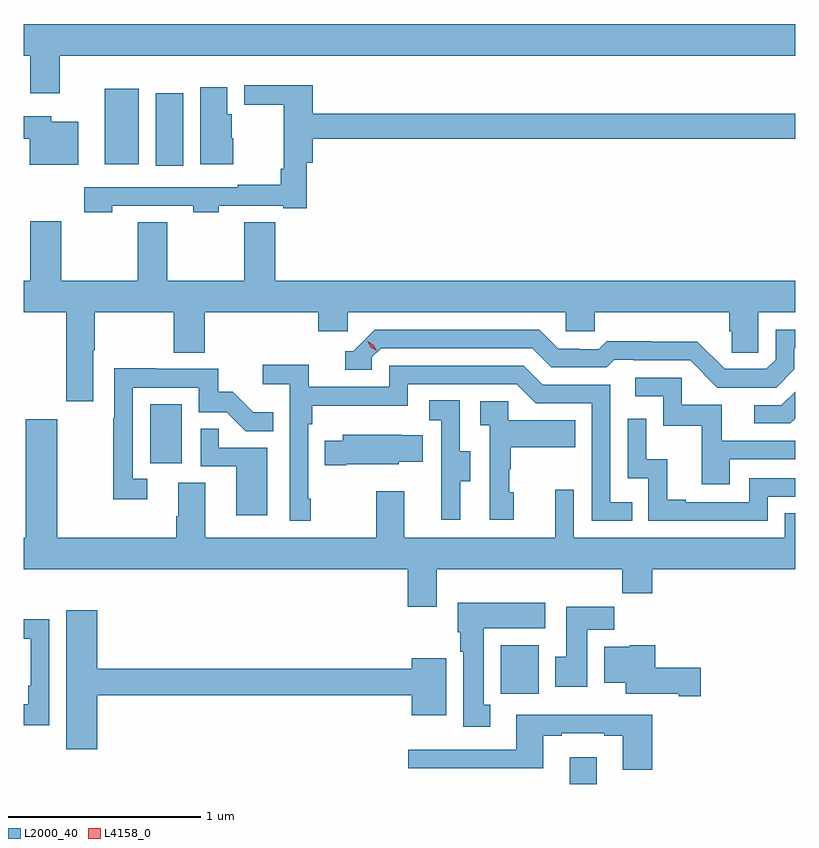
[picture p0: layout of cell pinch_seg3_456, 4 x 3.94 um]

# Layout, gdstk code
import gdstk
lib = gdstk.Library(unit=1e-6, precision=1e-09)
def R(c, l, rs):  # rectangles x0, y0, x1, y1
    for r in rs: c.add(gdstk.rectangle(r[:2], r[2:], *l))
def P(c, l, *ps):  # polygons
    for p in ps: c.add(gdstk.Polygon(p, *l))
L2000_40 = (2000, 40)
L4158_0 = (4158, 0)

pinch_seg3_456 = lib.new_cell('pinch_seg3_456')
R(pinch_seg3_456, L2000_40, [(903.203,679.823,903.343,679.963), (902.847,680.292,903.043,680.542), (901.028,681.486,901.192,681.793), (901.058,683.028,901.201,683.404), (900.794,683.036,900.97,683.428)])
P(pinch_seg3_456, L2000_40, [(900.559,683.6),(904.373,683.6),(904.373,683.764),(900.373,683.764),(900.373,683.6),(900.407,683.6),(900.407,683.406),(900.559,683.406)],
  [(900.831,682.821),(901.251,682.821),(901.251,682.789),(901.383,682.789),(901.383,682.821),(901.718,682.821),(901.718,682.809),(901.841,682.809),(901.841,683.045),(901.871,683.045),(901.871,683.17),(904.373,683.17),(904.373,683.299),(901.871,683.299),(901.871,683.446),(901.515,683.446),(901.515,683.344),(901.72,683.344),(901.72,683.014),(901.705,683.014),(901.705,682.93),(901.483,682.93),(901.483,682.917),(900.687,682.917),(900.687,682.789),(900.831,682.789)],
  [(901.459,683.172),(901.45,683.172),(901.45,683.295),(901.429,683.295),(901.429,683.437),(901.289,683.437),(901.289,683.036),(901.459,683.036)],
  [(900.655,683.257),(900.514,683.257),(900.514,683.286),(900.373,683.286),(900.373,683.17),(900.404,683.17),(900.404,683.033),(900.655,683.033)],
  [(901.118,682.736),(900.964,682.736),(900.964,682.432),(900.567,682.432),(900.567,682.741),(900.407,682.741),(900.407,682.432),(900.373,682.432),(900.373,682.268),(900.593,682.268),(900.593,681.807),(900.733,681.807),(900.733,682.072),(900.741,682.072),(900.741,682.268),(901.15,682.268),(901.15,682.06),(901.31,682.06),(901.31,682.268),(901.901,682.268),(901.901,682.17),(902.052,682.17),(902.052,682.268),(903.183,682.268),(903.183,682.17),(903.333,682.17),(903.333,682.268),(904.031,682.268),(904.031,682.17),(904.045,682.17),(904.045,682.06),(904.182,682.06),(904.182,682.268),(904.373,682.268),(904.373,682.432),(901.676,682.432),(901.676,682.736),(901.516,682.736),(901.516,682.432),(901.118,682.432)],
  [(904.369,681.973),(904.369,682.083),(904.373,682.083),(904.373,682.179),(904.272,682.179),(904.272,682.023),(904.224,681.975),(904.008,681.975),(903.866,682.117),(903.63,682.117),(903.63,682.12),(903.397,682.12),(903.355,682.077),(903.252,682.077),(903.252,682.08),(903.145,682.08),(903.046,682.179),(902.193,682.179),(902.082,682.068),(902.039,682.068),(902.039,681.972),(902.178,681.972),(902.178,682.035),(902.226,682.083),(903.009,682.083),(903.108,681.984),(903.397,681.984),(903.436,682.023),(903.535,682.023),(903.535,682.02),(903.828,682.02),(903.969,681.879),(904.275,681.879)],
  [(901.861,681.301),(901.848,681.301),(901.848,681.689),(901.868,681.689),(901.868,681.785),(902.364,681.785),(902.364,681.897),(902.928,681.897),(903.027,681.798),(903.318,681.798),(903.318,681.189),(903.527,681.189),(903.527,681.285),(903.414,681.285),(903.414,681.894),(903.064,681.894),(902.965,681.993),(902.268,681.993),(902.268,681.882),(901.85,681.882),(901.85,681.998),(901.611,681.998),(901.611,681.896),(901.752,681.896),(901.752,681.189),(901.861,681.189)],
  [(901.012,681.405),(900.939,681.405),(900.939,681.879),(901.281,681.879),(901.281,681.75),(901.426,681.75),(901.524,681.652),(901.667,681.652),(901.667,681.751),(901.563,681.751),(901.456,681.858),(901.38,681.858),(901.38,681.975),(901.061,681.975),(901.061,681.98),(900.843,681.98),(900.843,681.719),(900.838,681.719),(900.838,681.3),(901.012,681.3)],
  [(904.033,681.507),(904.373,681.507),(904.373,681.603),(903.991,681.603),(903.991,681.789),(903.786,681.789),(903.786,681.93),(903.543,681.93),(903.543,681.834),(903.69,681.834),(903.69,681.681),(903.889,681.681),(903.889,681.378),(904.033,681.378)],
  [(904.373,681.718),(904.373,681.857),(904.302,681.786),(904.161,681.786),(904.161,681.693),(904.348,681.693)],
  [(902.635,681.394),(902.689,681.394),(902.689,681.549),(902.634,681.549),(902.634,681.812),(902.475,681.812),(902.475,681.709),(902.538,681.709),(902.538,681.405),(902.537,681.405),(902.537,681.192),(902.635,681.192)],
  [(902.914,681.336),(902.889,681.336),(902.889,681.455),(902.899,681.455),(902.899,681.569),(903.233,681.569),(903.233,681.709),(902.886,681.709),(902.886,681.807),(902.739,681.807),(902.739,681.683),(902.79,681.683),(902.79,681.192),(902.914,681.192)],
  [(904.23,681.312),(904.373,681.312),(904.373,681.408),(904.134,681.408),(904.134,681.285),(903.805,681.285),(903.805,681.298),(903.71,681.298),(903.71,681.506),(903.6,681.506),(903.6,681.718),(903.504,681.718),(903.504,681.408),(903.612,681.408),(903.612,681.189),(904.23,681.189)],
  [(902.515,680.936),(903.475,680.936),(903.475,680.812),(903.632,680.812),(903.632,680.936),(904.373,680.936),(904.373,681.227),(904.32,681.227),(904.32,681.1),(903.225,681.1),(903.225,681.349),(903.128,681.349),(903.128,681.1),(902.347,681.1),(902.347,681.34),(902.2,681.34),(902.2,681.1),(901.315,681.1),(901.315,681.386),(901.175,681.386),(901.175,681.212),(901.163,681.212),(901.163,681.1),(900.547,681.1),(900.547,681.715),(900.383,681.715),(900.383,681.1),(900.373,681.1),(900.373,680.936),(902.363,680.936),(902.363,680.742),(902.515,680.742)],
  [(901.636,681.567),(901.385,681.567),(901.385,681.665),(901.29,681.665),(901.29,681.471),(901.475,681.471),(901.475,681.216),(901.636,681.216)],
  [(902.044,681.482),(902.316,681.482),(902.316,681.494),(902.441,681.494),(902.441,681.631),(902.333,681.631),(902.333,681.634),(902.027,681.634),(902.027,681.604),(901.933,681.604),(901.933,681.475),(902.044,681.475)],
  [(902.791,680.233),(902.758,680.233),(902.758,680.63),(903.076,680.63),(903.076,680.764),(902.624,680.764),(902.624,680.61),(902.636,680.61),(902.636,680.51),(902.651,680.51),(902.651,680.121),(902.791,680.121)],
  [(903.295,680.624),(903.434,680.624),(903.434,680.743),(903.185,680.743),(903.185,680.484),(903.128,680.484),(903.128,680.328),(903.295,680.328)],
  [(900.754,680.284),(902.384,680.284),(902.384,680.18),(902.563,680.18),(902.563,680.476),(902.384,680.476),(902.384,680.42),(900.754,680.42),(900.754,680.725),(900.593,680.725),(900.593,680.004),(900.754,680.004)],
  [(900.504,680.678),(900.373,680.678),(900.373,680.577),(900.408,680.577),(900.408,680.332),(900.395,680.332),(900.395,680.236),(900.373,680.236),(900.373,680.127),(900.504,680.127)],
  [(903.883,680.426),(903.647,680.426),(903.647,680.542),(903.516,680.542),(903.516,680.536),(903.383,680.536),(903.383,680.348),(903.494,680.348),(903.494,680.291),(903.77,680.291),(903.77,680.279),(903.883,680.279)],
  [(903.632,680.182),(902.927,680.182),(902.927,680.001),(902.367,680.001),(902.367,679.904),(903.067,679.904),(903.067,680.073),(903.163,680.073),(903.163,680.085),(903.383,680.085),(903.383,680.073),(903.479,680.073),(903.479,679.896),(903.632,679.896)])
P(pinch_seg3_456, L4158_0, [(902.202,682.069),(902.171,682.088),(902.154,682.121),(902.154,682.121),(902.155,682.121),(902.186,682.102),(902.202,682.07),(902.202,682.069)])

lib.write_gds('pinch_seg3_456.gds')
